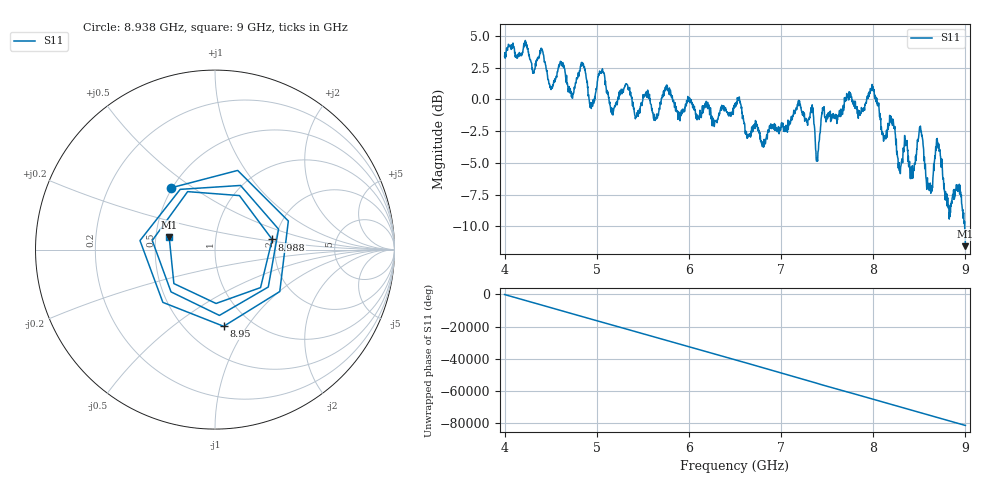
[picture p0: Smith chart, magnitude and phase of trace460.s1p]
! Created with skrf 1.8.0 (http://scikit-rf.org).
# Hz S RI R 50.0
!freq ReS11 ImS11
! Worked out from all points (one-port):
!   1601 points, 4 GHz to 9 GHz, reference 50 ohm
!   lowest |S11| = -11.6 dB at 9 GHz (marker M1), VSWR 1.72, Z = 29.5 + j4.28 ohm
!   |S11| at or under -10 dB: 8.992375 GHz to end of sweep
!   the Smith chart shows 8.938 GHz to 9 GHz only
!   S11 on the Smith chart (normalised r, x): 8.938 GHz: 0.49, +0.41; 8.95 GHz: 0.75, -0.79; 8.988 GHz: 1.92, +0.24; 9 GHz: 0.59, +0.09
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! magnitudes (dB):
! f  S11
! 4 GHz  3.4
! 4.625 GHz  2.7
! 4.728 GHz  0.3
! 4.85 GHz  2.9
! 4.941 GHz  -0.7
! 5.05 GHz  2.2
! 5.162 GHz  -0.7
! 5.25 GHz  0.4
! 5.875 GHz  -0.9
! 6.5 GHz  -0.3
! 6.806 GHz  -3.7
! 7.125 GHz  -1.3
! 7.331 GHz  -1.0
! 7.394 GHz  -4.8
! 7.456 GHz  -0.7
! 7.75 GHz  0.4
! 7.994 GHz  1.0
! 8.112 GHz  -3.3
! 8.375 GHz  -4.0
! 8.425 GHz  -5.2
! 8.512 GHz  -2.1
! 8.603 GHz  -7.1
! 8.7 GHz  -3.7
! 8.812 GHz  -8.4
! 8.938 GHz  -7.5
! 8.95 GHz  -7.3
! 8.988 GHz  -9.8
! 9 GHz  -11.6
